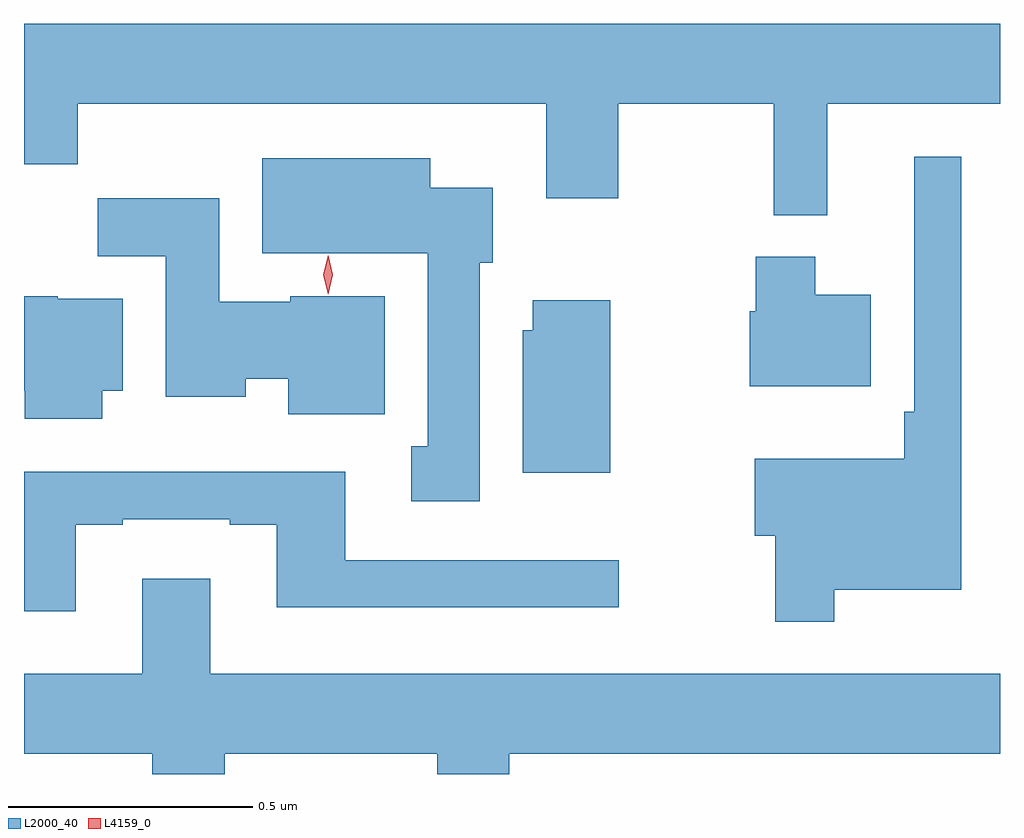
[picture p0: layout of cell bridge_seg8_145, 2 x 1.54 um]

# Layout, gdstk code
import gdstk
lib = gdstk.Library(unit=1e-6, precision=1e-09)
def P(c, l, *ps):  # polygons
    for p in ps: c.add(gdstk.Polygon(p, *l))
L2000_40 = (2000, 40)
L4159_0 = (4159, 0)

bridge_seg8_145 = lib.new_cell('bridge_seg8_145')
P(bridge_seg8_145, L2000_40, [(523.811,1149.8),(524.165,1149.8),(524.165,1149.964),(522.165,1149.964),(522.165,1149.676),(522.275,1149.676),(522.275,1149.8),(523.235,1149.8),(523.235,1149.606),(523.383,1149.606),(523.383,1149.8),(523.701,1149.8),(523.701,1149.572),(523.811,1149.572)],
  [(523.825,1148.804),(524.086,1148.804),(524.086,1149.691),(523.989,1149.691),(523.989,1149.169),(523.969,1149.169),(523.969,1149.073),(523.662,1149.073),(523.662,1148.915),(523.704,1148.915),(523.704,1148.739),(523.825,1148.739)],
  [(523.099,1149.474),(523.126,1149.474),(523.126,1149.628),(522.997,1149.628),(522.997,1149.688),(522.653,1149.688),(522.653,1149.494),(522.992,1149.494),(522.992,1149.098),(522.959,1149.098),(522.959,1148.985),(523.099,1148.985)],
  [(522.904,1149.406),(522.711,1149.406),(522.711,1149.394),(522.565,1149.394),(522.565,1149.606),(522.316,1149.606),(522.316,1149.488),(522.455,1149.488),(522.455,1149.2),(522.619,1149.2),(522.619,1149.236),(522.707,1149.236),(522.707,1149.164),(522.904,1149.164)],
  [(523.9,1149.409),(523.786,1149.409),(523.786,1149.487),(523.664,1149.487),(523.664,1149.375),(523.652,1149.375),(523.652,1149.221),(523.9,1149.221)],
  [(522.325,1149.212),(522.367,1149.212),(522.367,1149.4),(522.234,1149.4),(522.234,1149.406),(522.165,1149.406),(522.165,1149.212),(522.167,1149.212),(522.167,1149.155),(522.325,1149.155)],
  [(523.366,1149.397),(523.208,1149.397),(523.208,1149.336),(523.187,1149.336),(523.187,1149.044),(523.366,1149.044)],
  [(522.271,1148.937),(522.367,1148.937),(522.367,1148.949),(522.587,1148.949),(522.587,1148.937),(522.683,1148.937),(522.683,1148.768),(523.384,1148.768),(523.384,1148.865),(522.823,1148.865),(522.823,1149.046),(522.165,1149.046),(522.165,1148.76),(522.271,1148.76)],
  [(522.576,1148.468),(523.012,1148.468),(523.012,1148.426),(523.159,1148.426),(523.159,1148.468),(524.165,1148.468),(524.165,1148.632),(522.547,1148.632),(522.547,1148.827),(522.407,1148.827),(522.407,1148.632),(522.165,1148.632),(522.165,1148.468),(522.428,1148.468),(522.428,1148.426),(522.576,1148.426)])
P(bridge_seg8_145, L4159_0, [(522.788,1149.41),(522.788,1149.41),(522.778,1149.45),(522.788,1149.49),(522.788,1149.49),(522.788,1149.49),(522.798,1149.45),(522.788,1149.41)])

lib.write_gds('bridge_seg8_145.gds')
